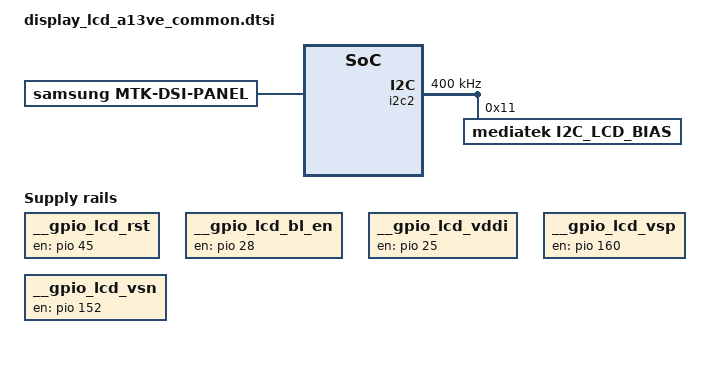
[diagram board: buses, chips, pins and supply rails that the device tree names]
/*
 * SAMSUNG LCD Panel Device Tree Source
 *
 * Copyright (c) Samsung Electronics Co., Ltd.
 *		http://www.samsung.com
 *
 * This program is free software; you can redistribute it and/or modify
 * it under the terms of the GNU General Public License version 2 as
 * published by the Free Software Foundation.
 */

/ {
	fragment@lcd {
		target-path = "/";
		__overlay__ {
			panel {
				compatible = "samsung,mtk-dsi-panel";
				smcdsd_panel = <&nt36672c_csot>;
			};

			lcd_fixed_regulator: lcd_fixed_regulator {
				compatible = "simple-bus";

				__gpio_lcd_rst: __gpio_lcd_rst {
					compatible = "regulator-fixed";
					regulator-name = "lcd_rst";
					gpio = <&pio 45 0>;	/* LCD_RST */
					enable-active-high;
					regulator-boot-on;
				};
				__gpio_lcd_bl_en: __gpio_lcd_bl_en {
					compatible = "regulator-fixed";
					regulator-name = "lcd_bl_en";
					gpio = <&pio 28 0>;	/* LCD_BL_EN */
					enable-active-high;
					regulator-boot-on;
				};
				__gpio_lcd_vddi: __gpio_lcd_vddi {
					compatible = "regulator-fixed";
					regulator-name = "lcd_vddi";
					gpio = <&pio 25 0>;	/* LCD_VDDI */
					enable-active-high;
					regulator-boot-on;
				};
				__gpio_lcd_vsp: __gpio_lcd_vsp {
					compatible = "regulator-fixed";
					regulator-name = "lcd_vsp";
					gpio = <&pio 160 0>;	/* LCD_VSP */
					enable-active-high;
					regulator-boot-on;
				};
				__gpio_lcd_vsn: __gpio_lcd_vsn {
					compatible = "regulator-fixed";
					regulator-name = "lcd_vsn";
					gpio = <&pio 152 0>;	/* LCD_VSN */
					enable-active-high;
					regulator-boot-on;
				};
			};

			smcdsd_board_nt36672c: smcdsd_board_nt36672c {
				gpio_con = <&pio 92 0x0>;	/* LCD_CON_DET */
				//gpio_det = <&pio 5 0x1>;	/* LCD_ESD_DET */

				panel_power_enable {
					type =
					"regulator,enable",	"lcd_vddi",
					"delay,usleep",	"2000",
					"regulator,enable",	"lcd_vsp",
					"delay,usleep",	"1000",
					"regulator,enable",	"lcd_vsn",
					"delay,msleep",	"11";

				};
				panel_power_disable {
					type =
					"delay,usleep",	"3000",
					"regulator,disable",	"lcd_vsn",
					"delay,usleep",	"1000",
					"regulator,disable",	"lcd_vsp",
					"delay,usleep",	"1000",
					"regulator,disable",	"lcd_vddi",
					"delay,usleep",	"5000";
				};
				panel_reset_enable {
					type =
					"delay,usleep",	"4000",
					"regulator,enable",	"lcd_rst",
					"delay,usleep",	"1000",
					"regulator,disable",	"lcd_rst",
					"delay,usleep",	"3000",
					"regulator,enable",	"lcd_rst",
					"delay,msleep",	"11";
				};
				panel_reset_disable {
					type =
					"delay,msleep",	"90",
					"regulator,disable",	"lcd_rst",
					"delay,usleep",	"2000";
				};
				panel_regulator_init {
					type =
					"regulator,enable",	"lcd_vddi",
					"regulator,enable",	"lcd_rst",
					"regulator,enable",	"lcd_vsp",
					"regulator,enable",	"lcd_vsn",
					"regulator,enable",	"lcd_bl_en";
				};
			};

			nt36672c_csot: nt36672c_csot {
				/* id_match: MASK(HEX) EXPECT(HEX) */
				id_match = <
					0xFFFFFF 0x4BF240	/* A13 */
				>;
				lcm_params-types = <2>; /* 0: LCM_TYPE_DBI, 1: LCM_TYPE_DPI, 2: LCM_TYPE_DSI */
				lcm_params-dsi-mode = <3>; /* 0: CMD, 1: SYNC_PULSE_VDO, 2: SYNC_EVENT_VDO, 3: BURST_VDO */
				lcm_params-dsi-lane_num = <4>;

				lcm_params-resolution = <1080 2408>;
				lcm_params-physical_width = <68>;		/* 68.43mm(H) x 152.57mm(V)  */
				lcm_params-physical_height = <153>;

				lcm_params-dsi-vertical_sync_active = <2>;
				lcm_params-dsi-vertical_backporch = <10>;
				lcm_params-dsi-vertical_frontporch = <10>;
				lcm_params-dsi-horizontal_sync_active = <10>;
				lcm_params-dsi-horizontal_backporch = <18>;
				lcm_params-dsi-horizontal_frontporch = <98>;

				lcm_params-dsi-data_rate = <1125>;
				lcm_params-dsi-ssc_disable = <1>;
				lcm_params-dsi-cont_clock = <1>;

				smcdsd_board = <&smcdsd_board_nt36672c>;
			};
		};
	};
};

/* should be deleted */
&i2c2 {
	#address-cells = <1>;
	#size-cells = <0>;
	clock-frequency = <400000>;
	mediatek,use-open-drain;

	i2c_lcd_bias@11 {
		compatible = "mediatek,i2c_lcd_bias";
		reg = <0x11>;
		status = "okay";
	};
};

&led6 {
	compatible;
};

